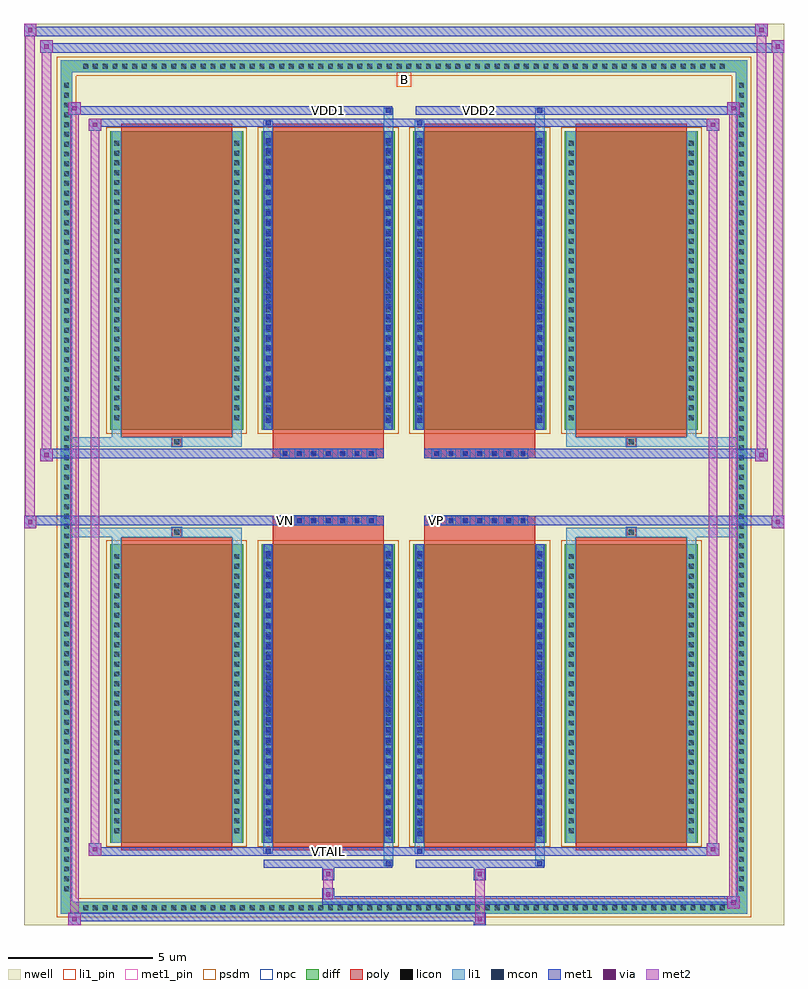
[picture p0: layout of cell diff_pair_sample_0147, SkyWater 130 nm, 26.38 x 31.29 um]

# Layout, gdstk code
import gdstk
lib = gdstk.Library(unit=1e-6, precision=5e-09)
def R(c, l, rs):  # rectangles x0, y0, x1, y1
    for r in rs: c.add(gdstk.rectangle(r[:2], r[2:], *l))
def A(c, l, x, y, w, h, nx, ny, dx, dy):  # array of equal rectangles
    R(c, l, [(x+i*dx, y+j*dy, x+i*dx+w, y+j*dy+h) for i in range(nx) for j in range(ny)])
def P(c, l, *ps):  # polygons
    for p in ps: c.add(gdstk.Polygon(p, *l))
nwell = (64, 20)
diff = (65, 20)
poly = (66, 20)
licon = (66, 44)
li1_pin = (67, 16)
li1 = (67, 20)
mcon = (67, 44)
met1_pin = (68, 16)
met1 = (68, 20)
via = (68, 44)
met2 = (69, 20)
psdm = (94, 20)
npc = (95, 20)

diff_pair_sample_0147 = lib.new_cell('diff_pair_sample_0147')
R(diff_pair_sample_0147, nwell, [(-13.19,-15.21,13.19,16.08), (-10.51,-13.4,-0.01,-0.8), (0.01,-13.4,10.51,-0.8), (-10.51,0.8,-0.01,13.4), (0.01,0.8,10.51,13.4)])
A(diff_pair_sample_0147, diff, -11.255, -14.81, 0.41, 0.41, 66, 2, 0.34, 29.21)
A(diff_pair_sample_0147, diff, -11.92, -14.145, 0.41, 0.41, 1, 83, 0, 0.34)
A(diff_pair_sample_0147, diff, 11.51, -14.145, 0.41, 0.41, 1, 83, 0, 0.34)
A(diff_pair_sample_0147, diff, -10.2, -12.355, 4.62, 10.37, 4, 2, 5.26, 14.34)
R(diff_pair_sample_0147, diff, [(-11.255,-14.81,11.255,-14.4), (-11.92,-14.145,-11.51,14.145), (11.51,-14.145,11.92,14.145), (-11.255,14.4,11.255,14.81)])
P(diff_pair_sample_0147, diff, [(11.92,14.81),(-11.92,14.81),(-11.92,-14.4),(-11.51,-14.4),(-11.51,14.4),(11.51,14.4),(11.51,-14.4),(-11.51,-14.4),(-11.92,-14.4),(-11.92,-14.81),(11.92,-14.81)])
A(diff_pair_sample_0147, poly, -9.81, -12.605, 3.84, 10.87, 4, 2, 5.26, 14.34)
A(diff_pair_sample_0147, poly, -4.295, -1.33, 0.33, 0.33, 7, 2, 0.5, 2.33)
A(diff_pair_sample_0147, poly, 0.965, -1.33, 0.33, 0.33, 7, 2, 0.5, 2.33)
R(diff_pair_sample_0147, poly, [(-8.055,-1.735,-7.725,-1.405), (-8.055,-1.735,-7.725,-1.405), (-4.55,-1.735,-0.71,-1.33), (0.71,-1.735,4.55,-1.33), (7.725,-1.735,8.055,-1.405), (7.725,-1.735,8.055,-1.405), (-4.55,-1.33,-0.71,-1), (0.71,-1.33,4.55,-1), (-4.55,1,-0.71,1.33), (0.71,1,4.55,1.33), (-4.55,1.33,-0.71,1.735), (0.71,1.33,4.55,1.735), (-8.055,1.405,-7.725,1.735), (-8.055,1.405,-7.725,1.735), (7.725,1.405,8.055,1.735), (7.725,1.405,8.055,1.735)])
A(diff_pair_sample_0147, licon, -11.135, -14.69, 0.17, 0.17, 66, 2, 0.34, 29.21)
A(diff_pair_sample_0147, licon, -11.8, -14.025, 0.17, 0.17, 1, 83, 0, 0.34)
A(diff_pair_sample_0147, licon, 11.63, -14.025, 0.17, 0.17, 1, 83, 0, 0.34)
A(diff_pair_sample_0147, licon, -10.06, -12.015, 0.17, 0.17, 1, 29, 0, 0.34)
A(diff_pair_sample_0147, licon, -5.89, -12.015, 0.17, 0.17, 1, 29, 0, 0.34)
A(diff_pair_sample_0147, licon, -4.8, -12.015, 0.17, 0.17, 1, 29, 0, 0.34)
A(diff_pair_sample_0147, licon, -0.63, -12.015, 0.17, 0.17, 1, 29, 0, 0.34)
A(diff_pair_sample_0147, licon, 0.46, -12.015, 0.17, 0.17, 1, 29, 0, 0.34)
A(diff_pair_sample_0147, licon, 4.63, -12.015, 0.17, 0.17, 1, 29, 0, 0.34)
A(diff_pair_sample_0147, licon, 5.72, -12.015, 0.17, 0.17, 1, 29, 0, 0.34)
A(diff_pair_sample_0147, licon, 9.89, -12.015, 0.17, 0.17, 1, 29, 0, 0.34)
A(diff_pair_sample_0147, licon, -4.215, -1.25, 0.17, 0.17, 7, 2, 0.5, 2.33)
A(diff_pair_sample_0147, licon, 1.045, -1.25, 0.17, 0.17, 7, 2, 0.5, 2.33)
A(diff_pair_sample_0147, licon, -10.06, 2.325, 0.17, 0.17, 1, 29, 0, 0.34)
A(diff_pair_sample_0147, licon, -5.89, 2.325, 0.17, 0.17, 1, 29, 0, 0.34)
A(diff_pair_sample_0147, licon, -4.8, 2.325, 0.17, 0.17, 1, 29, 0, 0.34)
A(diff_pair_sample_0147, licon, -0.63, 2.325, 0.17, 0.17, 1, 29, 0, 0.34)
A(diff_pair_sample_0147, licon, 0.46, 2.325, 0.17, 0.17, 1, 29, 0, 0.34)
A(diff_pair_sample_0147, licon, 4.63, 2.325, 0.17, 0.17, 1, 29, 0, 0.34)
A(diff_pair_sample_0147, licon, 5.72, 2.325, 0.17, 0.17, 1, 29, 0, 0.34)
A(diff_pair_sample_0147, licon, 9.89, 2.325, 0.17, 0.17, 1, 29, 0, 0.34)
R(diff_pair_sample_0147, licon, [(-7.975,-1.655,-7.805,-1.485), (7.805,-1.655,7.975,-1.485), (-7.975,1.485,-7.805,1.655), (7.805,1.485,7.975,1.655)])
R(diff_pair_sample_0147, li1_pin, [(-0.25,13.9,0.25,14.4)])
A(diff_pair_sample_0147, li1, -11.215, -14.77, 0.33, 0.33, 66, 2, 0.34, 29.21)
A(diff_pair_sample_0147, li1, -11.88, -14.105, 0.33, 0.33, 1, 83, 0, 0.34)
A(diff_pair_sample_0147, li1, 11.55, -14.105, 0.33, 0.33, 1, 83, 0, 0.34)
A(diff_pair_sample_0147, li1, -4.8, -12.115, 0.17, 0.17, 1, 28, 0, 0.36)
A(diff_pair_sample_0147, li1, -0.63, -12.115, 0.17, 0.17, 1, 28, 0, 0.36)
A(diff_pair_sample_0147, li1, 0.46, -12.115, 0.17, 0.17, 1, 28, 0, 0.36)
A(diff_pair_sample_0147, li1, 4.63, -12.115, 0.17, 0.17, 1, 28, 0, 0.36)
A(diff_pair_sample_0147, li1, -10.14, -12.095, 0.33, 0.33, 1, 29, 0, 0.34)
A(diff_pair_sample_0147, li1, -5.97, -12.095, 0.33, 0.33, 1, 29, 0, 0.34)
A(diff_pair_sample_0147, li1, -4.88, -12.095, 0.33, 0.33, 1, 29, 0, 0.34)
A(diff_pair_sample_0147, li1, -0.71, -12.095, 0.33, 0.33, 1, 29, 0, 0.34)
A(diff_pair_sample_0147, li1, 0.38, -12.095, 0.33, 0.33, 1, 29, 0, 0.34)
A(diff_pair_sample_0147, li1, 4.55, -12.095, 0.33, 0.33, 1, 29, 0, 0.34)
A(diff_pair_sample_0147, li1, 5.64, -12.095, 0.33, 0.33, 1, 29, 0, 0.34)
A(diff_pair_sample_0147, li1, 9.81, -12.095, 0.33, 0.33, 1, 29, 0, 0.34)
A(diff_pair_sample_0147, li1, -4.295, -1.33, 0.33, 0.33, 7, 2, 0.5, 2.33)
A(diff_pair_sample_0147, li1, 0.965, -1.33, 0.33, 0.33, 7, 2, 0.5, 2.33)
A(diff_pair_sample_0147, li1, -4.8, 2.225, 0.17, 0.17, 1, 28, 0, 0.36)
A(diff_pair_sample_0147, li1, -0.63, 2.225, 0.17, 0.17, 1, 28, 0, 0.36)
A(diff_pair_sample_0147, li1, 0.46, 2.225, 0.17, 0.17, 1, 28, 0, 0.36)
A(diff_pair_sample_0147, li1, 4.63, 2.225, 0.17, 0.17, 1, 28, 0, 0.36)
A(diff_pair_sample_0147, li1, -10.14, 2.245, 0.33, 0.33, 1, 29, 0, 0.34)
A(diff_pair_sample_0147, li1, -5.97, 2.245, 0.33, 0.33, 1, 29, 0, 0.34)
A(diff_pair_sample_0147, li1, -4.88, 2.245, 0.33, 0.33, 1, 29, 0, 0.34)
A(diff_pair_sample_0147, li1, -0.71, 2.245, 0.33, 0.33, 1, 29, 0, 0.34)
A(diff_pair_sample_0147, li1, 0.38, 2.245, 0.33, 0.33, 1, 29, 0, 0.34)
A(diff_pair_sample_0147, li1, 4.55, 2.245, 0.33, 0.33, 1, 29, 0, 0.34)
A(diff_pair_sample_0147, li1, 5.64, 2.245, 0.33, 0.33, 1, 29, 0, 0.34)
A(diff_pair_sample_0147, li1, 9.81, 2.245, 0.33, 0.33, 1, 29, 0, 0.34)
R(diff_pair_sample_0147, li1, [(-11.92,-14.81,-11.51,-14.4), (-11.92,-14.81,-11.51,-14.4), (-11.51,-14.81,11.51,-14.4), (11.51,-14.81,11.92,-14.4), (11.51,-14.81,11.92,-14.4), (-11.92,-14.4,-11.51,14.4), (11.51,-14.4,11.92,14.4), (-0.71,-13.16,-0.38,-12.355), (-0.63,-13.16,-0.46,-12.99), (4.55,-13.16,4.88,-12.355), (4.63,-13.16,4.8,-12.99), (-4.88,-12.73,-4.55,-12.355), (-4.8,-12.73,-4.63,-12.56), (0.38,-12.73,0.71,-12.355), (0.46,-12.73,0.63,-12.56), (-10.14,-12.355,-9.81,-1.985), (-5.97,-12.355,-5.64,-1.985), (-4.88,-12.355,-4.55,-1.985), (-0.71,-12.355,-0.38,-1.985), (0.38,-12.355,0.71,-1.985), (4.55,-12.355,4.88,-1.985), (5.64,-12.355,5.97,-1.985), (9.81,-12.355,10.14,-1.985), (-4.8,-12.115,-4.63,-2.225), (-0.63,-12.115,-0.46,-2.225), (0.46,-12.115,0.63,-2.225), (4.63,-12.115,4.8,-2.225), (-10.14,-1.985,-9.81,-1.405), (-5.97,-1.985,-5.64,-1.405), (5.64,-1.985,5.97,-1.405), (9.81,-1.985,10.14,-1.405), (-11.92,-1.735,-8.055,-1.405), (-10.14,-1.735,-8.055,-1.405), (-8.055,-1.735,-7.725,-1.405), (-7.725,-1.735,-5.64,-1.405), (5.64,-1.735,7.725,-1.405), (7.725,-1.735,8.055,-1.405), (7.725,-1.735,11.92,-1.405), (8.055,-1.735,10.14,-1.405), (-11.92,1.405,-8.055,1.735), (-10.14,1.405,-8.055,1.735), (-10.14,1.405,-9.81,1.985), (-8.055,1.405,-7.725,1.735), (-7.725,1.405,-5.64,1.735), (-5.97,1.405,-5.64,1.985), (5.64,1.405,7.725,1.735), (5.64,1.405,5.97,1.985), (7.725,1.405,8.055,1.735), (7.725,1.405,11.92,1.735), (8.055,1.405,10.14,1.735), (9.81,1.405,10.14,1.985), (-10.14,1.985,-9.81,12.355), (-5.97,1.985,-5.64,12.355), (-4.88,1.985,-4.55,12.355), (-0.71,1.985,-0.38,12.355), (0.38,1.985,0.71,12.355), (4.55,1.985,4.88,12.355), (5.64,1.985,5.97,12.355), (9.81,1.985,10.14,12.355), (-4.8,2.225,-4.63,12.115), (-0.63,2.225,-0.46,12.115), (0.46,2.225,0.63,12.115), (4.63,2.225,4.8,12.115), (-4.88,12.355,-4.55,12.73), (-0.71,12.355,-0.38,13.16), (0.38,12.355,0.71,12.73), (4.55,12.355,4.88,13.16), (-4.8,12.56,-4.63,12.73), (0.46,12.56,0.63,12.73), (-0.63,12.99,-0.46,13.16), (4.63,12.99,4.8,13.16), (-11.92,14.4,-11.51,14.81), (-11.92,14.4,-11.51,14.81), (-11.51,14.4,11.51,14.81), (11.51,14.4,11.92,14.81), (11.51,14.4,11.92,14.81)])
A(diff_pair_sample_0147, mcon, -4.8, -12.115, 0.17, 0.17, 1, 28, 0, 0.36)
A(diff_pair_sample_0147, mcon, -0.63, -12.115, 0.17, 0.17, 1, 28, 0, 0.36)
A(diff_pair_sample_0147, mcon, 0.46, -12.115, 0.17, 0.17, 1, 28, 0, 0.36)
A(diff_pair_sample_0147, mcon, 4.63, -12.115, 0.17, 0.17, 1, 28, 0, 0.36)
A(diff_pair_sample_0147, mcon, -4.215, -1.25, 0.17, 0.17, 7, 2, 0.5, 2.33)
A(diff_pair_sample_0147, mcon, 1.045, -1.25, 0.17, 0.17, 7, 2, 0.5, 2.33)
A(diff_pair_sample_0147, mcon, -4.8, 2.225, 0.17, 0.17, 1, 28, 0, 0.36)
A(diff_pair_sample_0147, mcon, -0.63, 2.225, 0.17, 0.17, 1, 28, 0, 0.36)
A(diff_pair_sample_0147, mcon, 0.46, 2.225, 0.17, 0.17, 1, 28, 0, 0.36)
A(diff_pair_sample_0147, mcon, 4.63, 2.225, 0.17, 0.17, 1, 28, 0, 0.36)
R(diff_pair_sample_0147, mcon, [(-0.63,-13.16,-0.46,-12.99), (4.63,-13.16,4.8,-12.99), (-4.8,-12.73,-4.63,-12.56), (0.46,-12.73,0.63,-12.56), (-4.8,12.56,-4.63,12.73), (0.46,12.56,0.63,12.73), (-0.63,12.99,-0.46,13.16), (4.63,12.99,4.8,13.16)])
R(diff_pair_sample_0147, met1_pin, [(-2.765,-12.77,-2.495,-12.5), (-4.265,-1.29,-3.995,-1.02), (0.995,-1.29,1.265,-1.02), (-2.765,12.95,-2.495,13.22), (2.495,12.95,2.765,13.22)])
A(diff_pair_sample_0147, met1, -4.86, -12.175, 0.29, 0.29, 1, 28, 0, 0.36)
A(diff_pair_sample_0147, met1, -0.69, -12.175, 0.29, 0.29, 1, 28, 0, 0.36)
A(diff_pair_sample_0147, met1, 0.4, -12.175, 0.29, 0.29, 1, 28, 0, 0.36)
A(diff_pair_sample_0147, met1, 4.57, -12.175, 0.29, 0.29, 1, 28, 0, 0.36)
A(diff_pair_sample_0147, met1, -4.275, -1.31, 0.29, 0.29, 7, 2, 0.5, 2.33)
A(diff_pair_sample_0147, met1, 0.985, -1.31, 0.29, 0.29, 7, 2, 0.5, 2.33)
A(diff_pair_sample_0147, met1, -4.86, 2.165, 0.29, 0.29, 1, 28, 0, 0.36)
A(diff_pair_sample_0147, met1, -0.69, 2.165, 0.29, 0.29, 1, 28, 0, 0.36)
A(diff_pair_sample_0147, met1, 0.4, 2.165, 0.29, 0.29, 1, 28, 0, 0.36)
A(diff_pair_sample_0147, met1, 4.57, 2.165, 0.29, 0.29, 1, 28, 0, 0.36)
R(diff_pair_sample_0147, met1, [(-11.65,-15.21,-11.22,-14.78), (2.415,-15.21,2.845,-14.78), (-11.65,-15.07,2.845,-14.78), (11.22,-14.64,11.65,-14.21), (-2.845,-14.5,11.65,-14.21), (-2.845,-14.36,-2.415,-13.93), (-2.845,-13.65,-2.415,-13.22), (2.415,-13.65,2.845,-13.22), (-4.86,-13.22,-0.4,-12.93), (-0.69,-13.22,-0.4,-12.93), (0.4,-13.22,4.86,-12.93), (4.57,-13.22,4.86,-12.93), (-10.94,-12.79,-10.51,-12.36), (-10.94,-12.79,-4.86,-12.5), (-4.86,-12.79,-4.57,-12.5), (-4.86,-12.79,-0.4,-12.5), (-0.4,-12.79,0.4,-12.5), (0.4,-12.79,0.69,-12.5), (0.4,-12.79,4.86,-12.5), (4.86,-12.79,10.94,-12.5), (10.51,-12.79,10.94,-12.36), (-4.86,-12.355,-4.57,-1.985), (-0.69,-12.355,-0.4,-1.985), (0.4,-12.355,0.69,-1.985), (4.57,-12.355,4.86,-1.985), (-13.19,-1.43,-12.76,-1), (12.76,-1.43,13.19,-1), (-13.19,-1.33,-0.71,-1), (-4.55,-1.33,-0.71,-1), (0.71,-1.33,4.55,-1), (0.71,-1.33,13.19,-1), (-12.62,0.9,-12.19,1.33), (12.19,0.9,12.62,1.33), (-12.62,1,-4.55,1.33), (-4.55,1,-0.71,1.33), (0.71,1,4.55,1.33), (4.55,1,12.62,1.33), (-4.86,1.985,-4.57,12.355), (-0.69,1.985,-0.4,12.355), (0.4,1.985,0.69,12.355), (4.57,1.985,4.86,12.355), (-10.94,12.36,-10.51,12.79), (10.51,12.36,10.94,12.79), (-10.94,12.5,-4.86,12.79), (-4.86,12.5,-4.57,12.79), (-4.86,12.5,-0.4,12.79), (-0.4,12.5,0.4,12.79), (0.4,12.5,0.69,12.79), (0.4,12.5,4.86,12.79), (4.86,12.5,10.94,12.79), (-11.65,12.93,-11.22,13.36), (-11.65,12.93,-4.86,13.22), (-4.86,12.93,-0.4,13.22), (-0.69,12.93,-0.4,13.22), (0.4,12.93,4.86,13.22), (4.57,12.93,4.86,13.22), (4.86,12.93,11.65,13.22), (11.22,12.93,11.65,13.36), (-12.62,15.08,-12.19,15.51), (-12.62,15.08,-10.51,15.41), (-10.51,15.08,10.51,15.41), (10.51,15.08,13.19,15.41), (12.76,15.08,13.19,15.51), (-13.19,15.65,-12.76,16.08), (-13.19,15.65,-10.51,15.98), (-10.51,15.65,10.51,15.98), (10.51,15.65,12.62,15.98), (12.19,15.65,12.62,16.08)])
R(diff_pair_sample_0147, via, [(-11.51,-15.07,-11.36,-14.92), (2.555,-15.07,2.705,-14.92), (11.36,-14.5,11.51,-14.35), (-2.705,-14.22,-2.555,-14.07), (-2.705,-13.51,-2.555,-13.36), (2.555,-13.51,2.705,-13.36), (-10.8,-12.65,-10.65,-12.5), (10.65,-12.65,10.8,-12.5), (-13.05,-1.29,-12.9,-1.14), (12.9,-1.29,13.05,-1.14), (-12.48,1.04,-12.33,1.19), (12.33,1.04,12.48,1.19), (-10.8,12.5,-10.65,12.65), (10.65,12.5,10.8,12.65), (-11.51,13.07,-11.36,13.22), (11.36,13.07,11.51,13.22), (-12.48,15.22,-12.33,15.37), (12.9,15.22,13.05,15.37), (-13.05,15.79,-12.9,15.94), (12.33,15.79,12.48,15.94)])
R(diff_pair_sample_0147, met2, [(-11.65,-15.21,-11.22,-14.78), (-11.58,-15.21,-11.29,13.36), (-11.29,-15.21,-11.22,-14.78), (-11.6,-15.16,-11.27,-14.83), (2.465,-15.16,2.795,-14.83), (2.465,-14.83,2.795,-13.6), (11.22,-14.64,11.65,-14.21), (11.29,-14.64,11.58,13.36), (11.58,-14.64,11.65,-14.21), (11.27,-14.59,11.6,-14.26), (-2.795,-14.31,-2.465,-13.98), (-2.795,-13.98,-2.465,-13.6), (-2.795,-13.6,-2.465,-13.27), (2.465,-13.6,2.795,-13.27), (-10.94,-12.79,-10.51,-12.36), (-10.87,-12.79,-10.58,12.79), (-10.58,-12.79,-10.51,-12.36), (10.51,-12.79,10.94,-12.36), (10.58,-12.79,10.87,12.79), (10.87,-12.79,10.94,-12.36), (-10.89,-12.74,-10.56,-12.41), (10.56,-12.74,10.89,-12.41), (-13.19,-1.43,-12.76,-1), (-13.14,-1.43,-12.81,16.08), (-12.81,-1.43,-12.76,-1), (12.76,-1.43,13.19,-1), (12.81,-1.43,13.14,15.51), (13.14,-1.43,13.19,-1), (-13.14,-1.38,-12.81,-1.05), (12.81,-1.38,13.14,-1.05), (-12.62,0.9,-12.19,1.33), (-12.57,0.9,-12.24,15.51), (-12.24,0.9,-12.19,1.33), (12.19,0.9,12.62,1.33), (12.24,0.9,12.57,16.08), (12.57,0.9,12.62,1.33), (-12.57,0.95,-12.24,1.28), (12.24,0.95,12.57,1.28), (-10.94,12.36,-10.51,12.79), (-10.58,12.36,-10.51,12.79), (10.51,12.36,10.94,12.79), (10.87,12.36,10.94,12.79), (-10.89,12.41,-10.56,12.74), (10.56,12.41,10.89,12.74), (-11.65,12.93,-11.22,13.36), (-11.29,12.93,-11.22,13.36), (11.22,12.93,11.65,13.36), (11.58,12.93,11.65,13.36), (-11.6,12.98,-11.27,13.31), (11.27,12.98,11.6,13.31), (-12.62,15.08,-12.19,15.51), (-12.24,15.08,-12.19,15.51), (12.76,15.08,13.19,15.51), (13.14,15.08,13.19,15.51), (-12.57,15.13,-12.24,15.46), (12.81,15.13,13.14,15.46), (-13.19,15.65,-12.76,16.08), (-12.81,15.65,-12.76,16.08), (12.19,15.65,12.62,16.08), (12.57,15.65,12.62,16.08), (-13.14,15.7,-12.81,16.03), (12.24,15.7,12.57,16.03)])
A(diff_pair_sample_0147, psdm, -10.33, -12.485, 4.88, 10.63, 4, 2, 5.26, 14.34)
P(diff_pair_sample_0147, psdm, [(12.05,14.94),(-12.05,14.94),(-12.05,-14.27),(-11.38,-14.27),(-11.38,14.27),(11.38,14.27),(11.38,-14.27),(-11.38,-14.27),(-12.05,-14.27),(-12.05,-14.94),(12.05,-14.94)])
A(diff_pair_sample_0147, npc, -4.315, -1.35, 0.37, 0.37, 7, 2, 0.5, 2.33)
A(diff_pair_sample_0147, npc, 0.945, -1.35, 0.37, 0.37, 7, 2, 0.5, 2.33)
R(diff_pair_sample_0147, npc, [(-8.075,-1.755,-7.705,-1.385), (7.705,-1.755,8.075,-1.385), (-4.315,-1.35,-3.445,-0.98), (-4.315,-1.35,-3.445,-0.98), (-3.815,-1.35,-2.945,-0.98), (-3.815,-1.35,-2.945,-0.98), (-3.315,-1.35,-2.445,-0.98), (-3.315,-1.35,-2.445,-0.98), (-2.815,-1.35,-1.945,-0.98), (-2.815,-1.35,-1.945,-0.98), (-2.315,-1.35,-1.445,-0.98), (-2.315,-1.35,-1.445,-0.98), (-1.815,-1.35,-0.945,-0.98), (-1.815,-1.35,-0.945,-0.98), (0.945,-1.35,1.815,-0.98), (0.945,-1.35,1.815,-0.98), (1.445,-1.35,2.315,-0.98), (1.445,-1.35,2.315,-0.98), (1.945,-1.35,2.815,-0.98), (1.945,-1.35,2.815,-0.98), (2.445,-1.35,3.315,-0.98), (2.445,-1.35,3.315,-0.98), (2.945,-1.35,3.815,-0.98), (2.945,-1.35,3.815,-0.98), (3.445,-1.35,4.315,-0.98), (3.445,-1.35,4.315,-0.98), (-4.315,0.98,-3.445,1.35), (-4.315,0.98,-3.445,1.35), (-3.815,0.98,-2.945,1.35), (-3.815,0.98,-2.945,1.35), (-3.315,0.98,-2.445,1.35), (-3.315,0.98,-2.445,1.35), (-2.815,0.98,-1.945,1.35), (-2.815,0.98,-1.945,1.35), (-2.315,0.98,-1.445,1.35), (-2.315,0.98,-1.445,1.35), (-1.815,0.98,-0.945,1.35), (-1.815,0.98,-0.945,1.35), (0.945,0.98,1.815,1.35), (0.945,0.98,1.815,1.35), (1.445,0.98,2.315,1.35), (1.445,0.98,2.315,1.35), (1.945,0.98,2.815,1.35), (1.945,0.98,2.815,1.35), (2.445,0.98,3.315,1.35), (2.445,0.98,3.315,1.35), (2.945,0.98,3.815,1.35), (2.945,0.98,3.815,1.35), (3.445,0.98,4.315,1.35), (3.445,0.98,4.315,1.35), (-8.075,1.385,-7.705,1.755), (7.705,1.385,8.075,1.755)])
diff_pair_sample_0147.add(gdstk.Label('VTAIL', (-2.63,-12.635), layer=68, texttype=5))
diff_pair_sample_0147.add(gdstk.Label('VN', (-4.13,-1.155), layer=68, texttype=5))
diff_pair_sample_0147.add(gdstk.Label('VP', (1.13,-1.155), layer=68, texttype=5))
diff_pair_sample_0147.add(gdstk.Label('B', (0,14.15), layer=67, texttype=5))
diff_pair_sample_0147.add(gdstk.Label('VDD2', (2.63,13.085), layer=68, texttype=5))
diff_pair_sample_0147.add(gdstk.Label('VDD1', (-2.63,13.085), layer=68, texttype=5))

lib.write_gds('diff_pair_sample_0147.gds')
